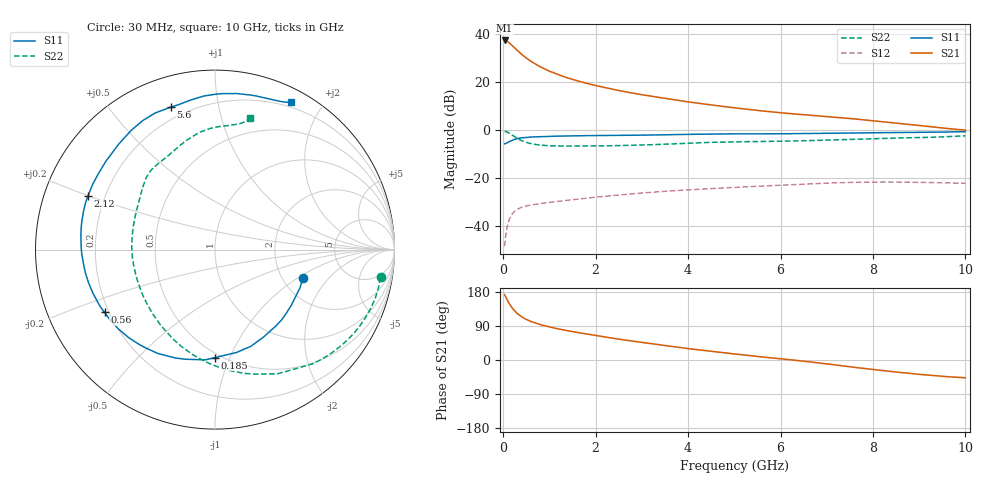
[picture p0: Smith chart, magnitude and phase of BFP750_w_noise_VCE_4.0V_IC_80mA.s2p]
! Infineon Technologies  Discrete & RF Semiconductors
! BFP750
! VCE =  4.0 V,  IC =  80 mA
! Common Emitter S-Parameters:  Jan 2016
# GHz  S  MA  R  50
!  f  S11  S21  S12  S22
! GHz  MAG  ANG  MAG  ANG  MAG  ANG  MAG  ANG
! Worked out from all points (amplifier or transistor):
!   229 points, 30 MHz to 10 GHz, reference 50 ohm
!   highest |S21| = 37.3 dB at 30 MHz (marker M1)
!   |S21| within 3 dB of that: start of sweep to 241.6 MHz
!   unconditionally stable (mu >= 1): 3.562 GHz to end of sweep
!   at 280 MHz: K = 0.22, MSG = 33.5 dB, |S12| = -33.4 dB
!   at 1.78 GHz: K = 0.77, MSG = 24.0 dB, |S12| = -28.5 dB
!   at 10 GHz: K = 1.04, MAG = 9.8 dB, |S12| = -22.2 dB
!   lowest NFmin = 1.35 dB at 450 MHz
!   S11 on the Smith chart (normalised r, x): 30 MHz: 2.56, -1.12; 185 MHz: 0.47, -0.88; 560 MHz: 0.18, -0.26; 2.12 GHz: 0.14, +0.20; 5.6 GHz: 0.14, +0.73; 10 GHz: 0.15, +1.63
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0.03  0.5146 -18.2  73.29 172.5  0.0038 73.1  0.9352 -9.5
0.07  0.532 -41.5  71.38 162.1  0.008 69.8  0.9204 -24.1
0.11  0.5573 -61.0  67.47 153.2  0.0119 64.0  0.8824 -37.5
0.15  0.5855 -78.0  62.89 145.0  0.0151 58.3  0.8356 -49.7
0.185  0.6019 -90.1  58.37 139.0  0.0172 53.4  0.7885 -58.9
0.2  0.6167 -95.0  56.66 136.1  0.0182 51.7  0.7751 -63.2
0.26  0.6431 -110.2  49.92 128.0  0.0208 45.9  0.7086 -76.7
0.3  0.6606 -118.8  45.84 123.0  0.0222 42.8  0.6718 -85.0
0.36  0.6766 -128.7  40.56 117.3  0.0237 39.0  0.6247 -95.3
0.45  0.6959 -140.3  34.27 110.0  0.0255 35.2  0.5735 -108.5
0.56  0.708 -150.4  28.69 103.9  0.0269 32.3  0.5308 -120.9
0.7  0.7219 -160.1  23.45 97.2  0.0284 30.2  0.4995 -133.8
1  0.7372 -173.9  16.77 87.1  0.031 28.5  0.47 -152.5
1.3  0.7483 176.4  13.03 79.4  0.0335 28.2  0.4621 -165.1
1.7  0.7604 166.2  9.975 70.6  0.037 27.8  0.4626 -177.4
2.12  0.7683 157.2  7.948 62.2  0.0409 26.9  0.4664 172.3
3.4  0.7914 134.2  4.709 39.9  0.0521 21.4  0.5011 148.0
5.1  0.8302 112.5  2.824 14.7  0.0645 11.5  0.5689 127.9
5.6  0.8308 107.3  2.496 8.1  0.0679 8.3  0.5757 122.0
6.8  0.8516 96.2  1.977 -7.3  0.0768 -0.5  0.6069 109.8
8.4  0.8833 77.4  1.424 -30.4  0.0824 -16.1  0.6767 91.9
10  0.9224 62.7  0.992 -47.0  0.0777 -28.0  0.757 74.9
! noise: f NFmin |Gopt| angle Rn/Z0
0.45  1.35  0.27  -168  0.4
0.9  1.37  0.35  -163  0.18
1.5  1.39  0.46  -155  0.09
1.9  1.39  0.48  -149  0.09
2.4  1.39  0.48  -142  0.11
3.5  1.63  0.48  -126  0.15
